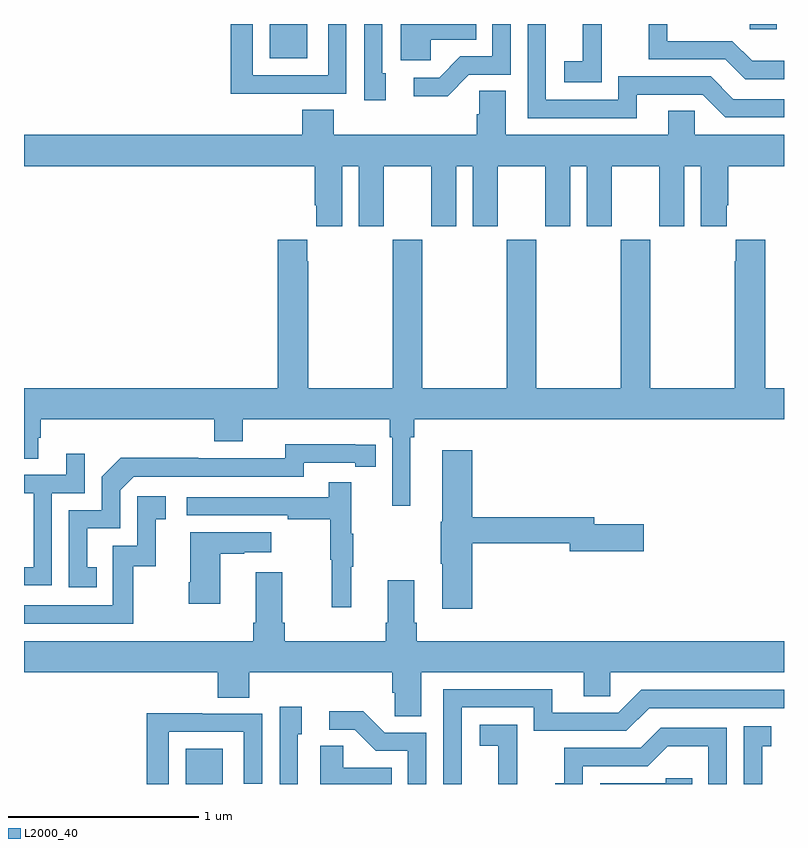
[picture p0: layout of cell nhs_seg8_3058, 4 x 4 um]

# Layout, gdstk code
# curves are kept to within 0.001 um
import gdstk
lib = gdstk.Library(unit=1e-6, precision=1e-09)
def R(c, l, rs):  # rectangles x0, y0, x1, y1
    for r in rs: c.add(gdstk.rectangle(r[:2], r[2:], *l))
def P(c, l, *ps):  # polygons
    for p in ps: c.add(gdstk.Polygon(p, *l))
L2000_40 = (2000, 40)

nhs_seg8_3058 = lib.new_cell('nhs_seg8_3058')
R(nhs_seg8_3058, L2000_40, [(301.85,1127.9,302.047,1128.085), (302.294,1131.719,302.491,1131.9), (304.821,1131.873,304.961,1131.9)])
P(nhs_seg8_3058, L2000_40, [(302.905,1131.642),(302.886,1131.642),(302.886,1131.9),(302.79,1131.9),(302.79,1131.498),(302.905,1131.498)],
  [(304.225,1131.528),(304.572,1131.528),(304.692,1131.408),(305,1131.408),(305,1131.504),(304.734,1131.504),(304.614,1131.624),(304.128,1131.624),(304.128,1131.501),(303.747,1131.501),(303.747,1131.9),(303.651,1131.9),(303.651,1131.405),(304.225,1131.405)],
  [(305,1131.706),(304.832,1131.706),(304.728,1131.81),(304.386,1131.81),(304.386,1131.9),(304.239,1131.9),(304.239,1131.899),(304.288,1131.899),(304.288,1131.714),(304.691,1131.714),(304.796,1131.609),(305,1131.609)],
  [(304.041,1131.799),(304.04,1131.799),(304.04,1131.9),(303.941,1131.9),(303.941,1131.703),(303.843,1131.703),(303.843,1131.593),(304.041,1131.593)],
  [(303.342,1131.633),(303.561,1131.633),(303.561,1131.9),(303.465,1131.9),(303.465,1131.729),(303.296,1131.729),(303.185,1131.618),(303.051,1131.618),(303.051,1131.521),(303.229,1131.521)],
  [(302.381,1131.534),(302.697,1131.534),(302.697,1131.9),(302.601,1131.9),(302.601,1131.63),(302.205,1131.63),(302.205,1131.9),(302.089,1131.9),(302.089,1131.533),(302.381,1131.533)],
  [(303.141,1131.818),(303.38,1131.818),(303.38,1131.9),(302.984,1131.9),(302.984,1131.71),(303.141,1131.71)],
  [(302.674,1131.152),(302.762,1131.152),(302.762,1130.835),(302.893,1130.835),(302.893,1131.152),(303.143,1131.152),(303.143,1130.835),(303.274,1130.835),(303.274,1131.152),(303.362,1131.152),(303.362,1130.835),(303.493,1130.835),(303.493,1131.152),(303.743,1131.152),(303.743,1130.835),(303.874,1130.835),(303.874,1131.152),(303.962,1131.152),(303.962,1130.835),(304.093,1130.835),(304.093,1131.152),(304.343,1131.152),(304.343,1130.835),(304.474,1130.835),(304.474,1131.152),(304.562,1131.152),(304.562,1130.835),(304.699,1130.835),(304.699,1130.947),(304.706,1130.947),(304.706,1131.152),(305,1131.152),(305,1131.316),(304.53,1131.316),(304.53,1131.443),(304.391,1131.443),(304.391,1131.316),(303.535,1131.316),(303.535,1131.548),(303.396,1131.548),(303.396,1131.425),(303.383,1131.425),(303.383,1131.316),(302.63,1131.316),(302.63,1131.449),(302.465,1131.449),(302.465,1131.316),(301,1131.316),(301,1131.152),(302.531,1131.152),(302.531,1130.947),(302.537,1130.947),(302.537,1130.835),(302.674,1130.835)],
  [(303.034,1129.724),(303.053,1129.724),(303.053,1129.82),(305,1129.82),(305,1129.984),(304.901,1129.984),(304.901,1130.764),(304.745,1130.764),(304.745,1130.651),(304.741,1130.651),(304.741,1129.984),(304.296,1129.984),(304.296,1130.764),(304.141,1130.764),(304.141,1129.984),(303.696,1129.984),(303.696,1130.764),(303.541,1130.764),(303.541,1129.984),(303.096,1129.984),(303.096,1130.764),(302.941,1130.764),(302.941,1129.984),(302.496,1129.984),(302.496,1130.651),(302.491,1130.651),(302.491,1130.764),(302.336,1130.764),(302.336,1129.984),(301,1129.984),(301,1129.612),(301.075,1129.612),(301.075,1129.722),(301.088,1129.722),(301.088,1129.82),(302,1129.82),(302,1129.703),(302.152,1129.703),(302.152,1129.82),(302.924,1129.82),(302.924,1129.724),(302.937,1129.724),(302.937,1129.365),(303.034,1129.365)],
  [(301.382,1129.041),(301.333,1129.041),(301.333,1129.245),(301.506,1129.245),(301.506,1129.446),(301.578,1129.518),(302.472,1129.518),(302.472,1129.59),(302.744,1129.59),(302.744,1129.57),(302.852,1129.57),(302.852,1129.686),(302.376,1129.687),(302.376,1129.614),(301.916,1129.614),(301.916,1129.616),(301.508,1129.616),(301.41,1129.518),(301.41,1129.341),(301.236,1129.341),(301.236,1128.936),(301.382,1128.936)],
  [(303.359,1129.168),(303.872,1129.168),(303.872,1129.126),(304.261,1129.126),(304.261,1129.268),(304,1129.268),(304,1129.304),(303.359,1129.304),(303.359,1129.657),(303.2,1129.657),(303.2,1129.281),(303.193,1129.281),(303.193,1129.06),(303.2,1129.06),(303.2,1128.822),(303.359,1128.822)],
  [(301.146,1129.431),(301.32,1129.431),(301.32,1129.639),(301.223,1129.639),(301.223,1129.527),(301,1129.527),(301,1129.431),(301.05,1129.431),(301.05,1129.042),(301,1129.042),(301,1128.945),(301.146,1128.945)],
  [(302.723,1129.043),(302.734,1129.043),(302.734,1129.217),(302.723,1129.217),(302.723,1129.489),(302.605,1129.489),(302.605,1129.41),(301.857,1129.41),(301.857,1129.314),(302.389,1129.314),(302.389,1129.294),(302.613,1129.294),(302.613,1129.08),(302.62,1129.08),(302.62,1128.831),(302.723,1128.831)],
  [(301.576,1129.047),(301.694,1129.047),(301.694,1129.293),(301.747,1129.293),(301.747,1129.414),(301.596,1129.414),(301.596,1129.155),(301.467,1129.155),(301.467,1128.84),(301,1128.84),(301,1128.744),(301.576,1128.744)],
  [(302.032,1129.111),(302.159,1129.111),(302.159,1129.121),(302.302,1129.121),(302.302,1129.225),(301.874,1129.225),(301.874,1128.961),(301.867,1128.961),(301.867,1128.849),(302.032,1128.849)],
  [(303.091,1128.488),(303.947,1128.488),(303.947,1128.361),(304.086,1128.361),(304.086,1128.488),(305,1128.488),(305,1128.652),(303.068,1128.652),(303.068,1128.748),(303.055,1128.748),(303.055,1128.973),(302.915,1128.973),(302.915,1128.748),(302.903,1128.748),(302.903,1128.652),(302.372,1128.652),(302.372,1128.748),(302.359,1128.748),(302.359,1129.015),(302.219,1129.015),(302.219,1128.748),(302.207,1128.748),(302.207,1128.652),(301,1128.652),(301,1128.488),(302.021,1128.488),(302.021,1128.355),(302.186,1128.355),(302.186,1128.488),(302.939,1128.488),(302.939,1128.379),(302.952,1128.379),(302.952,1128.256),(303.091,1128.256)],
  [(303.303,1128.303),(303.684,1128.303),(303.684,1128.18),(304.17,1128.18),(304.29,1128.3),(305,1128.3),(305,1128.396),(304.248,1128.396),(304.128,1128.276),(303.781,1128.276),(303.781,1128.399),(303.207,1128.399),(303.207,1127.9),(303.303,1127.9)],
  [(302.442,1128.162),(302.461,1128.162),(302.461,1128.307),(302.346,1128.307),(302.346,1127.9),(302.442,1127.9)],
  [(303.117,1128.171),(302.898,1128.171),(302.785,1128.284),(302.607,1128.284),(302.607,1128.186),(302.741,1128.186),(302.852,1128.075),(303.021,1128.075),(303.021,1127.9),(303.117,1127.9)],
  [(301.761,1128.174),(302.157,1128.174),(302.157,1127.901),(302.253,1127.901),(302.253,1128.27),(301.937,1128.27),(301.937,1128.272),(301.645,1128.272),(301.645,1127.9),(301.761,1127.9)],
  [(303.596,1128.005),(303.597,1128.005),(303.597,1128.211),(303.399,1128.211),(303.399,1128.101),(303.497,1128.101),(303.497,1127.9),(303.596,1127.9)],
  [(304.885,1128.099),(304.934,1128.099),(304.934,1128.205),(304.788,1128.205),(304.788,1127.9),(304.885,1127.9)],
  [(303.942,1127.994),(304.284,1127.994),(304.388,1128.098),(304.602,1128.098),(304.602,1127.9),(304.698,1127.9),(304.698,1128.195),(304.352,1128.195),(304.247,1128.09),(303.844,1128.09),(303.844,1127.905),(303.795,1127.905),(303.795,1127.9),(303.942,1127.9)],
  [(302.936,1127.986),(302.679,1127.986),(302.679,1128.101),(302.558,1128.101),(302.558,1127.9),(302.936,1127.9)],
  [(304.517,1127.931),(304.377,1127.931),(304.377,1127.904),(304.032,1127.904),(304.032,1127.9),(304.517,1127.9)])

lib.write_gds('nhs_seg8_3058.gds')
